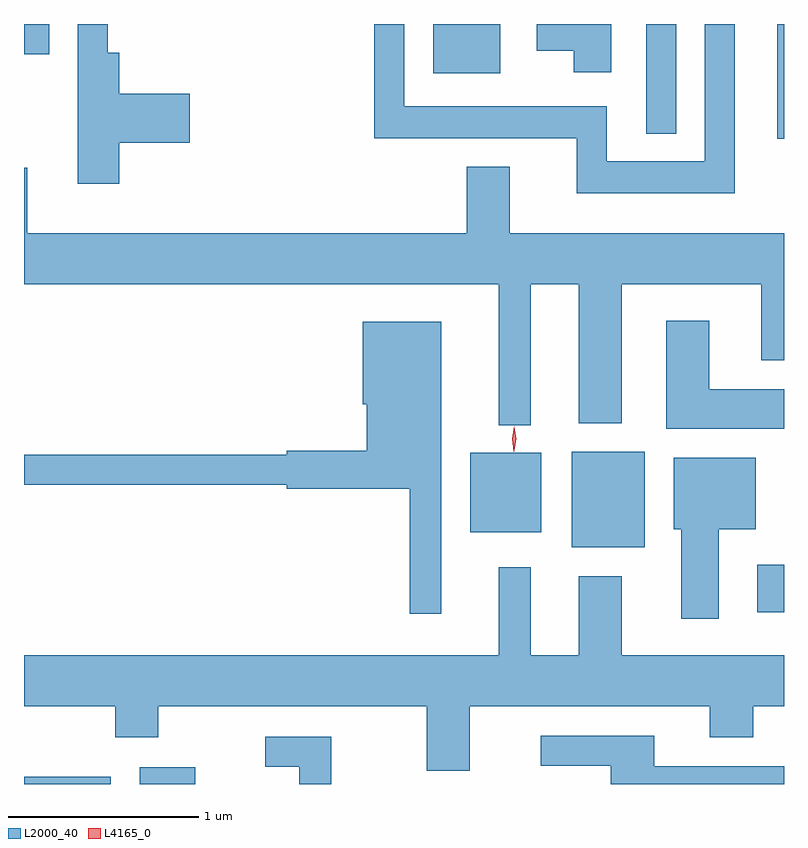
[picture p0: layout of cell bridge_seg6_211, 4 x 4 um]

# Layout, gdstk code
import gdstk
lib = gdstk.Library(unit=1e-6, precision=1e-09)
def R(c, l, rs):  # rectangles x0, y0, x1, y1
    for r in rs: c.add(gdstk.rectangle(r[:2], r[2:], *l))
def P(c, l, *ps):  # polygons
    for p in ps: c.add(gdstk.Polygon(p, *l))
L2000_40 = (2000, 40)
L4165_0 = (4165, 0)

bridge_seg6_211 = lib.new_cell('bridge_seg6_211')
R(bridge_seg6_211, L2000_40, [(1102.992,1547.406,1103.449,1547.444), (1103.601,1547.406,1103.894,1547.494), (1106.851,1548.311,1106.992,1548.559), (1105.876,1548.651,1106.259,1549.154), (1105.341,1548.731,1105.714,1549.149), (1106.956,1550.801,1106.992,1551.406), (1106.266,1550.828,1106.424,1551.406), (1105.146,1551.146,1105.499,1551.406), (1102.992,1551.248,1103.124,1551.406)])
P(bridge_seg6_211, L2000_40, [(1106.734,1551.406),(1106.576,1551.406),(1106.576,1550.684),(1106.059,1550.684),(1106.059,1550.974),(1104.994,1550.974),(1104.994,1551.406),(1104.836,1551.406),(1104.836,1550.806),(1105.901,1550.806),(1105.901,1550.516),(1106.734,1550.516)],
  [(1103.494,1550.781),(1103.864,1550.781),(1103.864,1551.039),(1103.494,1551.039),(1103.494,1551.254),(1103.434,1551.254),(1103.434,1551.406),(1103.276,1551.406),(1103.276,1550.566),(1103.494,1550.566)],
  [(1106.084,1551.406),(1105.691,1551.406),(1105.691,1551.266),(1105.886,1551.266),(1105.886,1551.151),(1106.084,1551.151)],
  [(1105.659,1550.036),(1105.911,1550.036),(1105.911,1549.306),(1106.139,1549.306),(1106.139,1550.036),(1106.871,1550.036),(1106.871,1549.636),(1106.992,1549.636),(1106.992,1550.304),(1105.549,1550.304),(1105.549,1550.654),(1105.321,1550.654),(1105.321,1550.304),(1103.009,1550.304),(1103.009,1550.649),(1102.992,1550.649),(1102.992,1550.036),(1105.491,1550.036),(1105.491,1549.293),(1105.659,1549.293)],
  [(1106.992,1549.484),(1106.599,1549.484),(1106.599,1549.844),(1106.371,1549.844),(1106.371,1549.276),(1106.992,1549.276)],
  [(1105.189,1549.839),(1104.776,1549.839),(1104.776,1549.406),(1104.796,1549.406),(1104.796,1549.159),(1104.376,1549.159),(1104.376,1549.139),(1102.992,1549.139),(1102.992,1548.981),(1104.376,1548.981),(1104.376,1548.961),(1105.021,1548.961),(1105.021,1548.303),(1105.189,1548.303)],
  [(1106.649,1548.746),(1106.844,1548.746),(1106.844,1549.124),(1106.411,1549.124),(1106.411,1548.746),(1106.451,1548.746),(1106.451,1548.276),(1106.649,1548.276)],
  [(1105.339,1547.816),(1106.601,1547.816),(1106.601,1547.651),(1106.829,1547.651),(1106.829,1547.816),(1106.992,1547.816),(1106.992,1548.084),(1106.139,1548.084),(1106.139,1548.499),(1105.911,1548.499),(1105.911,1548.084),(1105.659,1548.084),(1105.659,1548.548),(1105.491,1548.548),(1105.491,1548.084),(1102.992,1548.084),(1102.992,1547.816),(1103.471,1547.816),(1103.471,1547.651),(1103.699,1547.651),(1103.699,1547.816),(1105.111,1547.816),(1105.111,1547.476),(1105.339,1547.476)],
  [(1106.992,1547.499),(1106.309,1547.499),(1106.309,1547.659),(1105.713,1547.659),(1105.713,1547.501),(1106.081,1547.501),(1106.081,1547.406),(1106.992,1547.406)],
  [(1104.609,1547.654),(1104.263,1547.654),(1104.263,1547.496),(1104.441,1547.496),(1104.441,1547.406),(1104.609,1547.406)])
P(bridge_seg6_211, L4165_0, [(1105.572,1549.158),(1105.572,1549.159),(1105.562,1549.223),(1105.572,1549.286),(1105.572,1549.287),(1105.573,1549.286),(1105.582,1549.223),(1105.573,1549.159)],
  [(1105.569,1549.154),(1105.561,1549.222),(1105.572,1549.29),(1105.572,1549.29),(1105.573,1549.29),(1105.581,1549.222),(1105.57,1549.154),(1105.57,1549.154)])

lib.write_gds('bridge_seg6_211.gds')
